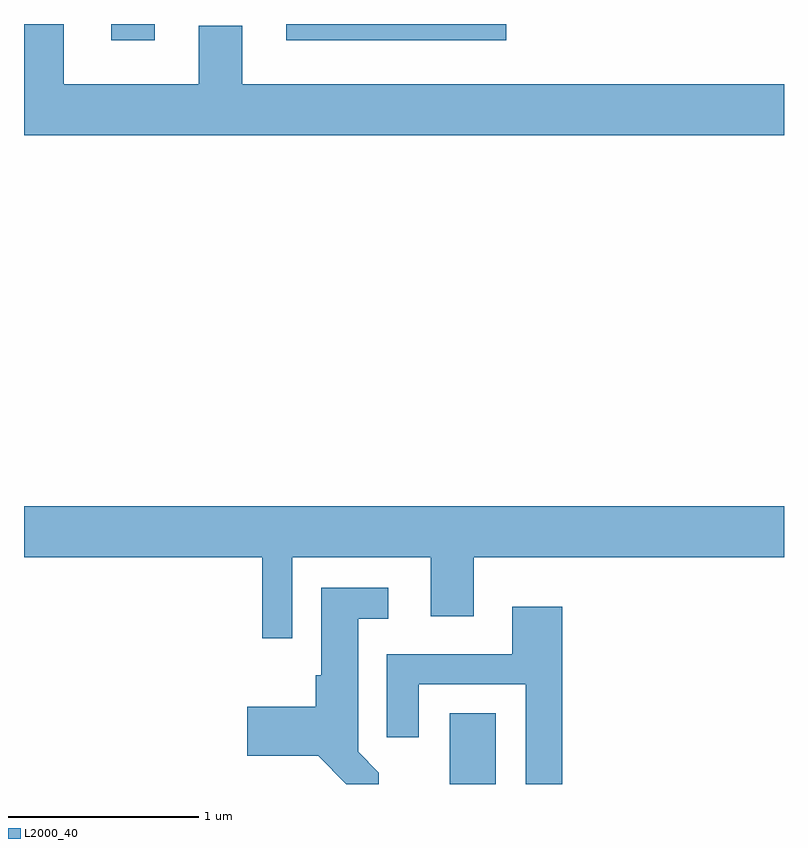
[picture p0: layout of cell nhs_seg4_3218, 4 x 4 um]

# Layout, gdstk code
import gdstk
lib = gdstk.Library(unit=1e-6, precision=1e-09)
def R(c, l, rs):  # rectangles x0, y0, x1, y1
    for r in rs: c.add(gdstk.rectangle(r[:2], r[2:], *l))
def P(c, l, *ps):  # polygons
    for p in ps: c.add(gdstk.Polygon(p, *l))
L2000_40 = (2000, 40)

nhs_seg4_3218 = lib.new_cell('nhs_seg4_3218')
R(nhs_seg4_3218, L2000_40, [(281.851,1297.982,282.094,1298.354), (280.071,1301.896,280.299,1301.982), (280.991,1301.896,282.148,1301.982)])
P(nhs_seg4_3218, L2000_40, [(283.611,1301.664),(280.759,1301.664),(280.759,1301.974),(280.531,1301.974),(280.531,1301.664),(279.819,1301.664),(279.819,1301.982),(279.611,1301.982),(279.611,1301.396),(283.611,1301.396)],
  [(281.024,1299.176),(281.751,1299.176),(281.751,1298.866),(281.979,1298.866),(281.979,1299.176),(283.611,1299.176),(283.611,1299.444),(279.611,1299.444),(279.611,1299.176),(280.866,1299.176),(280.866,1298.748),(281.024,1298.748)],
  [(281.479,1298.042),(281.369,1298.152),(281.369,1298.851),(281.528,1298.851),(281.528,1299.014),(281.176,1299.014),(281.176,1298.554),(281.146,1298.554),(281.146,1298.389),(280.786,1298.389),(280.786,1298.131),(281.159,1298.131),(281.308,1297.982),(281.479,1297.982)],
  [(282.444,1298.914),(282.181,1298.914),(282.181,1298.664),(281.521,1298.664),(281.521,1298.228),(281.689,1298.228),(281.689,1298.506),(282.251,1298.506),(282.251,1297.982),(282.444,1297.982)])

lib.write_gds('nhs_seg4_3218.gds')
